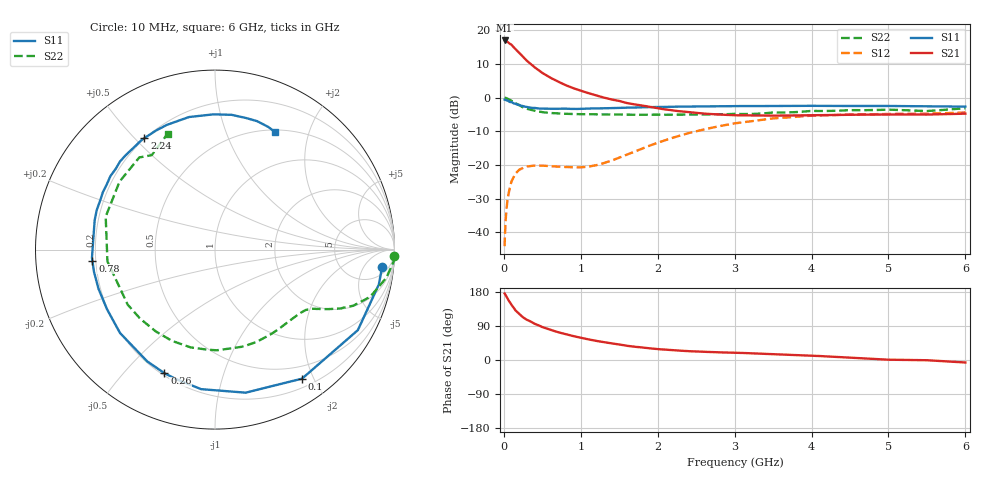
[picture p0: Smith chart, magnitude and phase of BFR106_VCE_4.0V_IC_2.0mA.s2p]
! Infineon Technologies  Discrete & RF Semiconductors
! BFR106
! VCE =  4.0 V,  IC =  2.0 mA
! Common Emitter S-Parameters:  Nov 2015
# GHz  S  MA  R  50
!  f  S11  S21  S12  S22
! GHz  MAG  ANG  MAG  ANG  MAG  ANG  MAG  ANG
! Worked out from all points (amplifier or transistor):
!   210 points, 10 MHz to 6 GHz, reference 50 ohm
!   highest |S21| = 17.0 dB at 10 MHz (marker M1)
!   |S21| within 3 dB of that: start of sweep to 170.3 MHz
!   unconditionally stable (mu >= 1): 790.2 MHz to 1.874 GHz; 3.673 GHz to end of sweep
!   at 185 MHz: K = 0.24, MSG = 17.7 dB, |S12| = -21.8 dB
!   at 1.52 GHz: K = 1.20, MAG = 5.6 dB, |S12| = -17.7 dB
!   at 6 GHz: K = 1.02, MAG = -1.1 dB, |S12| = -4.4 dB
!   S11 on the Smith chart (normalised r, x): 10 MHz: 9, -14; 100 MHz: 0.32, -1.84; 260 MHz: 0.21, -0.65; 780 MHz: 0.19, -0.04; 2.24 GHz: 0.20, +0.53; 6 GHz: 0.52, +1.50
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0.01  0.9359 -5.9  7.093 175.5  0.0062 89.6  0.9997 -2.1
0.025  0.9243 -14.8  6.956 170.6  0.0157 79.8  0.991 -4.9
0.05  0.9137 -29.4  6.732 160.8  0.0317 74.3  0.9677 -9.3
0.1  0.8672 -56.0  6.123 145.3  0.0571 61.1  0.9041 -16.9
0.15  0.8153 -77.9  5.301 131.2  0.0742 49.6  0.831 -22.1
0.2  0.7813 -95.7  4.657 121.2  0.0848 42.3  0.7704 -25.2
0.26  0.7438 -112.3  3.937 111.2  0.0915 35.7  0.711 -27.8
0.3  0.7284 -121.2  3.533 106.0  0.0948 32.8  0.6838 -29.0
0.4  0.7042 -138.7  2.833 95.6  0.0979 27.8  0.6366 -31.2
0.5  0.6873 -151.2  2.334 86.9  0.0977 25.8  0.6084 -33.5
0.6  0.6848 -161.4  1.993 79.8  0.0963 25.7  0.593 -36.3
0.78  0.686 -174.9  1.579 69.4  0.0934 29.2  0.5776 -41.9
1.02  0.6832 170.5  1.247 57.8  0.0925 40.0  0.5681 -50.3
1.4  0.7019 152.9  0.939 43.9  0.1157 60.5  0.5639 -65.9
2.02  0.7258 129.5  0.69 28.5  0.2174 68.9  0.5588 -95.1
2.24  0.7354 122.3  0.637 25.3  0.2629 66.7  0.5599 -106.4
3.1  0.7509 98.9  0.546 18.6  0.429 48.4  0.5709 -153.1
3.5  0.7536 90.7  0.541 15.6  0.4927 39.1  0.6029 -173.7
4.1  0.7552 81.7  0.55 10.5  0.5436 25.3  0.634 159.4
5.1  0.751 70.7  0.563 0.5  0.5748 8.0  0.6578 128.3
5.5  0.745 66.5  0.561 -0.6  0.5784 4.8  0.6332 123.8
6  0.7362 63.1  0.579 -6.6  0.6031 -3.1  0.6979 112.2
